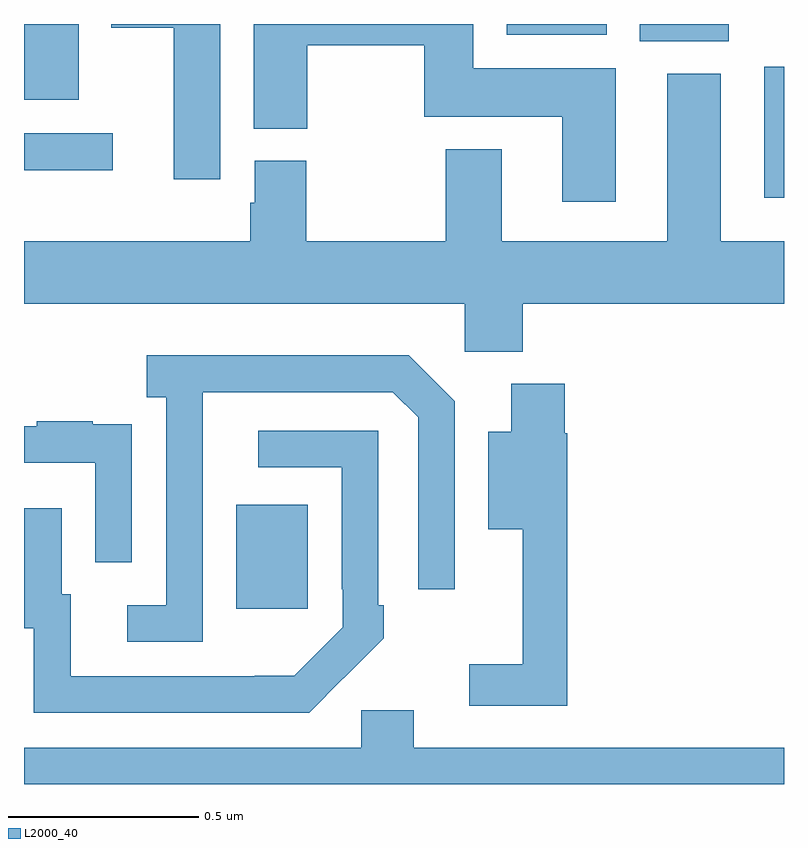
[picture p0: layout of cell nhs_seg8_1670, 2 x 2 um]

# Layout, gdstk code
import gdstk
lib = gdstk.Library(unit=1e-6, precision=1e-09)
def R(c, l, rs):  # rectangles x0, y0, x1, y1
    for r in rs: c.add(gdstk.rectangle(r[:2], r[2:], *l))
def P(c, l, *ps):  # polygons
    for p in ps: c.add(gdstk.Polygon(p, *l))
L2000_40 = (2000, 40)

nhs_seg8_1670 = lib.new_cell('nhs_seg8_1670')
R(nhs_seg8_1670, L2000_40, [(133.559,1118.361,133.747,1118.635), (134.948,1119.443,135,1119.787), (133,1119.515,133.234,1119.612), (133,1119.701,133.144,1119.9), (134.621,1119.854,134.854,1119.9), (134.27,1119.872,134.533,1119.9)])
P(nhs_seg8_1670, L2000_40, [(134.557,1119.784),(134.182,1119.784),(134.182,1119.9),(133.604,1119.9),(133.604,1119.625),(133.746,1119.625),(133.746,1119.844),(134.053,1119.844),(134.053,1119.656),(134.417,1119.656),(134.417,1119.432),(134.557,1119.432)],
  [(133.516,1119.9),(133.229,1119.9),(133.229,1119.89),(133.394,1119.89),(133.394,1119.492),(133.516,1119.492)],
  [(134.312,1119.164),(135,1119.164),(135,1119.328),(134.833,1119.328),(134.833,1119.769),(134.693,1119.769),(134.693,1119.328),(134.257,1119.328),(134.257,1119.571),(134.11,1119.571),(134.11,1119.328),(133.743,1119.328),(133.743,1119.54),(133.607,1119.54),(133.607,1119.429),(133.595,1119.429),(133.595,1119.328),(133,1119.328),(133,1119.164),(134.16,1119.164),(134.16,1119.038),(134.312,1119.038)],
  [(133.47,1118.731),(133.471,1118.731),(133.471,1118.931),(133.971,1118.931),(134.037,1118.865),(134.037,1118.412),(134.133,1118.412),(134.133,1118.907),(134.012,1119.028),(133.323,1119.028),(133.323,1118.918),(133.374,1118.918),(133.374,1118.37),(133.272,1118.37),(133.272,1118.274),(133.47,1118.274)],
  [(134.429,1118.823),(134.423,1118.823),(134.423,1118.953),(134.282,1118.953),(134.282,1118.827),(134.222,1118.827),(134.222,1118.57),(134.312,1118.57),(134.312,1118.215),(134.172,1118.215),(134.172,1118.106),(134.429,1118.106)],
  [(133.284,1118.738),(133.283,1118.738),(133.283,1118.847),(133.181,1118.847),(133.181,1118.854),(133.033,1118.854),(133.033,1118.841),(133,1118.841),(133,1118.745),(133.188,1118.745),(133.188,1118.484),(133.284,1118.484)],
  [(133.841,1118.179),(133.842,1118.178),(133.947,1118.283),(133.947,1118.371),(133.932,1118.371),(133.932,1118.829),(133.617,1118.829),(133.617,1118.733),(133.836,1118.733),(133.836,1118.413),(133.839,1118.413),(133.839,1118.313),(133.711,1118.185),(133.607,1118.185),(133.607,1118.184),(133.123,1118.184),(133.123,1118.4),(133.099,1118.4),(133.099,1118.626),(133,1118.626),(133,1118.429),(133.001,1118.429),(133.001,1118.31),(133.026,1118.31),(133.026,1118.088),(133.75,1118.088)],
  [(135,1117.996),(134.026,1117.996),(134.026,1118.094),(133.887,1118.094),(133.887,1117.996),(133,1117.996),(133,1117.9),(135,1117.9)])

lib.write_gds('nhs_seg8_1670.gds')
